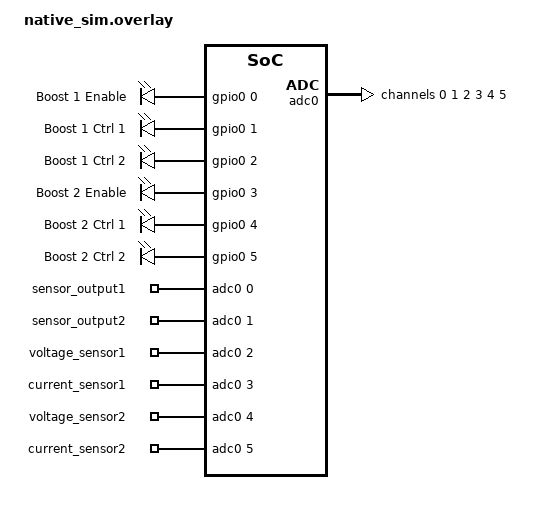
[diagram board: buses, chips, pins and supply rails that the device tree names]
#include <zephyr/dt-bindings/gpio/gpio.h>
#include <dt-bindings/regulator/npm1300.h>

/ {

    leds {
		compatible = "gpio-leds";
		boost1_en: boost1_en {
			gpios = <&gpio0 0 GPIO_ACTIVE_HIGH>;
			label = "Boost 1 Enable";
		};
		boost1_ctrl1: boost1_ctrl1 {
			gpios = <&gpio0 1 GPIO_ACTIVE_HIGH>;
			label = "Boost 1 Ctrl 1";
		};
		boost1_ctrl2: boost1_ctrl2 {
			gpios = <&gpio0 2 GPIO_ACTIVE_HIGH>;
			label = "Boost 1 Ctrl 2";
		};
		boost2_en: boost2_en {
			gpios = <&gpio0 3 GPIO_ACTIVE_HIGH>;
			label = "Boost 2 Enable";
		};
		boost2_ctrl1: boost2_ctrl1 {
			gpios = <&gpio0 4 GPIO_ACTIVE_HIGH>;
			label = "Boost 2 Ctrl 1";
		};
		boost2_ctrl2: boost2_ctrl2 {
			gpios = <&gpio0 5 GPIO_ACTIVE_HIGH>;
			label = "Boost 2 Ctrl 2";
		};
	};
    aliases {
		boost1en = &boost1_en;
		boost1ctrl1 = &boost1_ctrl1;
		boost1ctrl2 = &boost1_ctrl2;
		boost2en = &boost2_en;
		boost2ctrl1 = &boost2_ctrl1;
		boost2ctrl2 = &boost2_ctrl2;
    };

	npm1300_ek_pmic: pmic {

        npm1300_ek_regulators: regulators {
            compatible = "zephyr,fake-regulator";

            npm1300_ek_buck1: buck1 {
                regulator-min-microvolt = <3000000>;
                regulator-max-microvolt = <3000000>;
            };

            npm1300_ek_ldo1: ldo1 {
                regulator-initial-mode = <NPM1300_LDSW_MODE_LDO>;
                /delete-property/ enable-gpios;
                /delete-property/ regulator-init-microvolt;
                regulator-boot-off;
            };

            npm1300_ek_ldo2: ldo2 {
                regulator-initial-mode = <NPM1300_LDSW_MODE_LDO>;
                /delete-property/ enable-gpios;
                /delete-property/ regulator-init-microvolt;
                regulator-boot-off;
            };
        };

        npm1300_ek_charger: charger {
            compatible = "test-charger"; // Dummy compatible
        };

        npm1300_ek_leds: leds {
            compatible = "nordic,npm1300-led";
            nordic,led0-mode = "error";    
            nordic,led1-mode = "charging";    
            nordic,led2-mode = "host";
        };
    };

    zephyr,user {
		/* adjust channel number according to pinmux in board.dts */
		io-channels = <&adc0 0>, <&adc0 1>, <&adc0 2>, <&adc0 3>, <&adc0 4>, <&adc0 5>;
		io-channel-names = "sensor_output1", "sensor_output2", "voltage_sensor1", "current_sensor1", "voltage_sensor2", "current_sensor2";
	};
};

&adc0 {
	status = "okay";
	nchannels = <6>;
	#address-cells = <1>;
	#size-cells = <0>;
	ref-internal-mv = <600>;
	channel@0 {
		reg = <0>;
		zephyr,gain = "ADC_GAIN_1_6";
		zephyr,reference = "ADC_REF_INTERNAL";
		zephyr,acquisition-time = <ADC_ACQ_TIME_DEFAULT>;
		zephyr,input-positive = <2>; 
		zephyr,resolution = <12>;
	};
    channel@1 {
		reg = <1>;
		zephyr,gain = "ADC_GAIN_1_6";
		zephyr,reference = "ADC_REF_INTERNAL";
		zephyr,acquisition-time = <ADC_ACQ_TIME_DEFAULT>;
		zephyr,input-positive = <3>; 
		zephyr,resolution = <12>;
	};
	channel@2 {
		reg = <2>;
		zephyr,gain = "ADC_GAIN_1_6";
		zephyr,reference = "ADC_REF_INTERNAL";
		zephyr,acquisition-time = <ADC_ACQ_TIME_DEFAULT>;
		zephyr,input-positive = <1>; 
		zephyr,resolution = <12>;
	};
    channel@3 {
		reg = <3>;
		zephyr,gain = "ADC_GAIN_1_2";
		zephyr,reference = "ADC_REF_INTERNAL";
		zephyr,acquisition-time = <ADC_ACQ_TIME_DEFAULT>;
		zephyr,input-positive = <0>; 
		zephyr,resolution = <12>;
	};
	channel@4 {
		reg = <4>;
		zephyr,gain = "ADC_GAIN_1_6";
		zephyr,reference = "ADC_REF_INTERNAL";
		zephyr,acquisition-time = <ADC_ACQ_TIME_DEFAULT>;
		zephyr,input-positive = <6>; 
		zephyr,resolution = <12>;
	};
    channel@5 {
		reg = <5>;
		zephyr,gain = "ADC_GAIN_1_2";
		zephyr,reference = "ADC_REF_INTERNAL";
		zephyr,acquisition-time = <ADC_ACQ_TIME_DEFAULT>;
		zephyr,input-positive = <7>; 
		zephyr,resolution = <12>;
	};
};

&gpio0 {
    status = "okay";
    compatible = "zephyr,gpio-emul";
    ngpios = <32>;
    gpio-controller;
    #gpio-cells = <2>;
};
